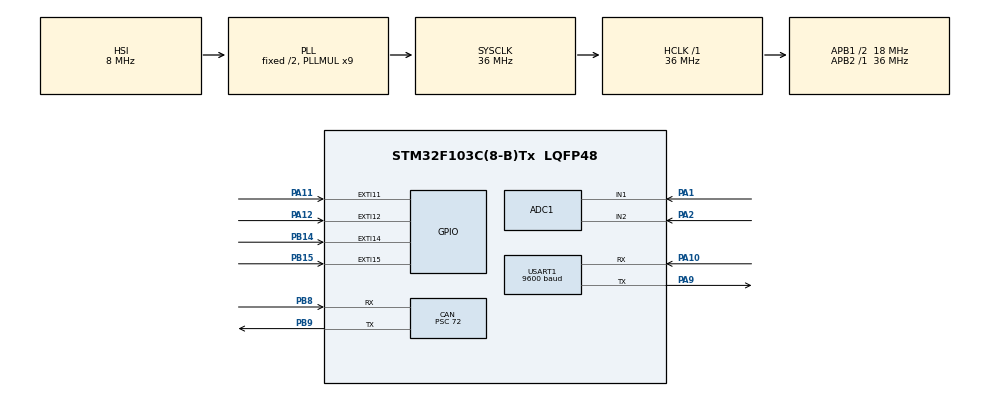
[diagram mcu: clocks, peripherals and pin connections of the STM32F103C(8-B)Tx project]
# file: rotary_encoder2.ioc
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ADC1.Channel-0\#ChannelRegularConversion=ADC_CHANNEL_1
ADC1.NbrOfConversionFlag=1
ADC1.Rank-0\#ChannelRegularConversion=1
ADC1.SamplingTime-0\#ChannelRegularConversion=ADC_SAMPLETIME_55CYCLES_5
ADC1.master=1
CAN.BS1=CAN_BS1_2TQ
CAN.CalculateBaudRate=62500
CAN.CalculateTimeBit=16000
CAN.CalculateTimeQuantum=4000.0
CAN.Prescaler=72
Mcu.Family=STM32F1
Mcu.Name=STM32F103C(8-B)Tx
Mcu.Package=LQFP48
NVIC.CAN1_RX1_IRQn=true\:0\:0\:false\:false\:true\:true\:true\:true
NVIC.EXTI15_10_IRQn=true\:0\:0\:false\:false\:true\:true\:true\:true
NVIC.PriorityGroup=NVIC_PRIORITYGROUP_4
NVIC.TIM2_IRQn=true\:0\:0\:false\:false\:true\:true\:true\:true
NVIC.USART1_IRQn=true\:0\:0\:false\:false\:true\:true\:true\:true
PA1.Signal=ADCx_IN1
PA10.Mode=Asynchronous
PA10.Signal=USART1_RX
PA11.GPIO_PuPd=GPIO_PULLUP
PA11.Signal=GPXTI11
PA12.GPIO_PuPd=GPIO_PULLUP
PA12.Signal=GPXTI12
PA13.Mode=Serial_Wire
PA13.Signal=SYS_JTMS-SWDIO
PA14.Mode=Serial_Wire
PA14.Signal=SYS_JTCK-SWCLK
PA2.Signal=ADCx_IN2
PA9.Mode=Asynchronous
PA9.Signal=USART1_TX
PB14.GPIO_PuPd=GPIO_PULLUP
PB14.Signal=GPXTI14
PB15.GPIO_PuPd=GPIO_PULLUP
PB15.Signal=GPXTI15
PB8.GPIO_PuPd=GPIO_PULLUP
PB8.Mode=CAN_Activate
PB8.Signal=CAN_RX
PB9.Mode=CAN_Activate
PB9.Signal=CAN_TX
PD0-OSC_IN.Mode=HSE-External-Oscillator
PD0-OSC_IN.Signal=RCC_OSC_IN
PD1-OSC_OUT.Mode=HSE-External-Oscillator
PD1-OSC_OUT.Signal=RCC_OSC_OUT
ProjectManager.HeapSize=0x200
ProjectManager.StackSize=0x400
ProjectManager.TargetToolchain=STM32CubeIDE
RCC.ADCPresc=RCC_ADCPCLK2_DIV4
RCC.AHBFreq_Value=36000000
RCC.APB1CLKDivider=RCC_HCLK_DIV2
RCC.APB1Freq_Value=18000000
RCC.APB1TimFreq_Value=36000000
RCC.APB2Freq_Value=36000000
RCC.APB2TimFreq_Value=36000000
RCC.HCLKFreq_Value=36000000
RCC.PLLMUL=RCC_PLL_MUL9
RCC.SYSCLKFreq_VALUE=36000000
RCC.SYSCLKSource=RCC_SYSCLKSOURCE_PLLCLK
RCC.USBFreq_Value=36000000
SH.ADCx_IN1.0=ADC1_IN1,IN1
SH.ADCx_IN2.0=ADC1_IN2,IN2
TIM2.Period=999
TIM2.Prescaler=7199
TIM2.TIM_MasterOutputTrigger=TIM_TRGO_UPDATE
USART1.BaudRate=9600
USART1.VirtualMode=VM_ASYNC
VP_TIM2_VS_ClockSourceINT.Mode=Internal
board=custom

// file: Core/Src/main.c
/* USER CODE BEGIN Header */
/**
 ******************************************************************************
 * @file           : main.c
 * @brief          : Main program body
 ******************************************************************************
 * @attention
 *
 * Copyright (c) 2025 STMicroelectronics.
 * All rights reserved.
 *
 * This software is licensed under terms that can be found in the LICENSE file
 * in the root directory of this software component.
 * If no LICENSE file comes with this software, it is provided AS-IS.
 *
 ******************************************************************************
 */
/* USER CODE END Header */
#include "main.h"

/* USER CODE BEGIN Includes */
#include "encoder.h"
#include "potentiometer.h"
#include <stdio.h>

#define PI 3.14159265359f
#define DEG_TO_RAD(deg) ((deg) * (PI / 180.0f))
/* USER CODE END Includes */

/* USER CODE BEGIN PTD */
CAN_TxHeaderTypeDef TxHeader;
int32_t TxMailbox;
int8_t TxData[4]="ST"; //CAN transmitted data

CAN_FilterTypeDef sFilterConfig;
CAN_RxHeaderTypeDef RxHeader;
int8_t RxData[4]={0}; //CAN received data

void HAL_CAN_RxFifo1MsgPendingCallback(CAN_HandleTypeDef *hcan)
{
	HAL_CAN_GetRxMessage(hcan, CAN_RX_FIFO1, &RxHeader, RxData);
}

//uart
int8_t UARTmsg [2] = {};
int8_t UARTreceived = 0;

/* USER CODE END PTD */

ADC_HandleTypeDef hadc1;

CAN_HandleTypeDef hcan;

TIM_HandleTypeDef htim2;

UART_HandleTypeDef huart1;

/* USER CODE BEGIN PV */
int8_t rpmRight = 0, rpmLeft = 0;
int8_t pos1 = 0, pos2 = 0;

uint16_t readValue;
int8_t steering_data;
uint16_t full_angle;
uint16_t stSteeringAngle;
uint16_t angle_2_turn;
uint16_t angle_1_turn_rad;
/* USER CODE END PV */

void SystemClock_Config(void);
static void MX_GPIO_Init(void);
static void MX_TIM2_Init(void);
static void MX_CAN_Init(void);
static void MX_USART1_UART_Init(void);
static void MX_ADC1_Init(void);
/* USER CODE BEGIN PFP */
//void can_userInit (void);
/* USER CODE END PFP */

int main(void)
{

  /* MCU Configuration--------------------------------------------------------*/

  /* Reset of all peripherals, Initializes the Flash interface and the Systick. */
  HAL_Init();

  /* Configure the system clock */
  SystemClock_Config();

  /* Initialize all configured peripherals */
  MX_GPIO_Init();
  MX_TIM2_Init();
  MX_CAN_Init();
  MX_USART1_UART_Init();
  MX_ADC1_Init();
  /* USER CODE BEGIN 2 */
	//can_userInit();
	// Start timer interrupt for encoder sampling
	HAL_TIM_Base_Start_IT(&htim2);
	//HAL_CAN_AddTxMessage(&hcan, &TxHeader, TxData, &TxMailbox);

    // Calibrate The ADC On Power-Up For Better Accuracy
    //HAL_ADCEx_Calibration_Start(&hadc2);
	//take first pot pos
    //HAL_ADC_Start_IT(&hadc2);
	//int16_t resetPot= Potentiometer_GetAnglePerTurn();
  /* USER CODE END 2 */

  /* Infinite loop */
	while (1)
	{

    /* USER CODE BEGIN 3 */
		rpmRight = Encoder_get_speed_one();
		rpmLeft = Encoder_get_speed_two();

		//HAL_CAN_AddTxMessage(&hcan, &TxHeader, TxData, &TxMailbox);

		UARTmsg[0]=rpmRight;
		UARTmsg[1]=rpmLeft;
		//UARTmsg[3]=stSteeringAngle;//sprocket

		HAL_UART_Transmit(&huart1, UARTmsg, 2, HAL_MAX_DELAY);
		//HAL_Delay(100);

	}
  /* USER CODE END 3 */
}

void SystemClock_Config(void)
{
  RCC_OscInitTypeDef RCC_OscInitStruct = {0};
  RCC_ClkInitTypeDef RCC_ClkInitStruct = {0};
  RCC_PeriphCLKInitTypeDef PeriphClkInit = {0};

  /** Initializes the RCC Oscillators according to the specified parameters
  * in the RCC_OscInitTypeDef structure.
  */
  RCC_OscInitStruct.OscillatorType = RCC_OSCILLATORTYPE_HSI;
  RCC_OscInitStruct.HSIState = RCC_HSI_ON;
  RCC_OscInitStruct.HSICalibrationValue = RCC_HSICALIBRATION_DEFAULT;
  RCC_OscInitStruct.PLL.PLLState = RCC_PLL_ON;
  RCC_OscInitStruct.PLL.PLLSource = RCC_PLLSOURCE_HSI_DIV2;
  RCC_OscInitStruct.PLL.PLLMUL = RCC_PLL_MUL9;
  if (HAL_RCC_OscConfig(&RCC_OscInitStruct) != HAL_OK)
  {
    Error_Handler();
  }

  /** Initializes the CPU, AHB and APB buses clocks
  */
  RCC_ClkInitStruct.ClockType = RCC_CLOCKTYPE_HCLK|RCC_CLOCKTYPE_SYSCLK
                              |RCC_CLOCKTYPE_PCLK1|RCC_CLOCKTYPE_PCLK2;
  RCC_ClkInitStruct.SYSCLKSource = RCC_SYSCLKSOURCE_PLLCLK;
  RCC_ClkInitStruct.AHBCLKDivider = RCC_SYSCLK_DIV1;
  RCC_ClkInitStruct.APB1CLKDivider = RCC_HCLK_DIV2;
  RCC_ClkInitStruct.APB2CLKDivider = RCC_HCLK_DIV1;

  if (HAL_RCC_ClockConfig(&RCC_ClkInitStruct, FLASH_LATENCY_1) != HAL_OK)
  {
    Error_Handler();
  }
  PeriphClkInit.PeriphClockSelection = RCC_PERIPHCLK_ADC;
  PeriphClkInit.AdcClockSelection = RCC_ADCPCLK2_DIV4;
  if (HAL_RCCEx_PeriphCLKConfig(&PeriphClkInit) != HAL_OK)
  {
    Error_Handler();
  }
}

static void MX_ADC1_Init(void)
{

  ADC_ChannelConfTypeDef sConfig = {0};

  /** Common config
  */
  hadc1.Instance = ADC1;
  hadc1.Init.ScanConvMode = ADC_SCAN_DISABLE;
  hadc1.Init.ContinuousConvMode = DISABLE;
  hadc1.Init.DiscontinuousConvMode = DISABLE;
  hadc1.Init.ExternalTrigConv = ADC_SOFTWARE_START;
  hadc1.Init.DataAlign = ADC_DATAALIGN_RIGHT;
  hadc1.Init.NbrOfConversion = 1;
  if (HAL_ADC_Init(&hadc1) != HAL_OK)
  {
    Error_Handler();
  }

  /** Configure Regular Channel
  */
  sConfig.Channel = ADC_CHANNEL_1;
  sConfig.Rank = ADC_REGULAR_RANK_1;
  sConfig.SamplingTime = ADC_SAMPLETIME_55CYCLES_5;
  if (HAL_ADC_ConfigChannel(&hadc1, &sConfig) != HAL_OK)
  {
    Error_Handler();
  }

}

static void MX_CAN_Init(void)
{

  hcan.Instance = CAN1;
  hcan.Init.Prescaler = 72;
  hcan.Init.Mode = CAN_MODE_NORMAL;
  hcan.Init.SyncJumpWidth = CAN_SJW_1TQ;
  hcan.Init.TimeSeg1 = CAN_BS1_2TQ;
  hcan.Init.TimeSeg2 = CAN_BS2_1TQ;
  hcan.Init.TimeTriggeredMode = DISABLE;
  hcan.Init.AutoBusOff = DISABLE;
  hcan.Init.AutoWakeUp = DISABLE;
  hcan.Init.AutoRetransmission = DISABLE;
  hcan.Init.ReceiveFifoLocked = DISABLE;
  hcan.Init.TransmitFifoPriority = DISABLE;
  if (HAL_CAN_Init(&hcan) != HAL_OK)
  {
    Error_Handler();
  }

}

static void MX_TIM2_Init(void)
{

  TIM_ClockConfigTypeDef sClockSourceConfig = {0};
  TIM_MasterConfigTypeDef sMasterConfig = {0};

  htim2.Instance = TIM2;
  htim2.Init.Prescaler = 7199;
  htim2.Init.CounterMode = TIM_COUNTERMODE_UP;
  htim2.Init.Period = 999;
  htim2.Init.ClockDivision = TIM_CLOCKDIVISION_DIV1;
  htim2.Init.AutoReloadPreload = TIM_AUTORELOAD_PRELOAD_DISABLE;
  if (HAL_TIM_Base_Init(&htim2) != HAL_OK)
  {
    Error_Handler();
  }
  sClockSourceConfig.ClockSource = TIM_CLOCKSOURCE_INTERNAL;
  if (HAL_TIM_ConfigClockSource(&htim2, &sClockSourceConfig) != HAL_OK)
  {
    Error_Handler();
  }
  sMasterConfig.MasterOutputTrigger = TIM_TRGO_UPDATE;
  sMasterConfig.MasterSlaveMode = TIM_MASTERSLAVEMODE_DISABLE;
  if (HAL_TIMEx_MasterConfigSynchronization(&htim2, &sMasterConfig) != HAL_OK)
  {
    Error_Handler();
  }

}

static void MX_USART1_UART_Init(void)
{

  huart1.Instance = USART1;
  huart1.Init.BaudRate = 9600;
  huart1.Init.WordLength = UART_WORDLENGTH_8B;
  huart1.Init.StopBits = UART_STOPBITS_1;
  huart1.Init.Parity = UART_PARITY_NONE;
  huart1.Init.Mode = UART_MODE_TX_RX;
  huart1.Init.HwFlowCtl = UART_HWCONTROL_NONE;
  huart1.Init.OverSampling = UART_OVERSAMPLING_16;
  if (HAL_UART_Init(&huart1) != HAL_OK)
  {
    Error_Handler();
  }

}

static void MX_GPIO_Init(void)
{
  GPIO_InitTypeDef GPIO_InitStruct = {0};

  /* GPIO Ports Clock Enable */
  __HAL_RCC_GPIOD_CLK_ENABLE();
  __HAL_RCC_GPIOA_CLK_ENABLE();
  __HAL_RCC_GPIOB_CLK_ENABLE();

  /*Configure GPIO pins : PB14 PB15 */
  GPIO_InitStruct.Pin = GPIO_PIN_14|GPIO_PIN_15;
  GPIO_InitStruct.Mode = GPIO_MODE_IT_RISING;
  GPIO_InitStruct.Pull = GPIO_PULLUP;
  HAL_GPIO_Init(GPIOB, &GPIO_InitStruct);

  /*Configure GPIO pins : PA11 PA12 */
  GPIO_InitStruct.Pin = GPIO_PIN_11|GPIO_PIN_12;
  GPIO_InitStruct.Mode = GPIO_MODE_IT_RISING;
  GPIO_InitStruct.Pull = GPIO_PULLUP;
  HAL_GPIO_Init(GPIOA, &GPIO_InitStruct);

  /* EXTI interrupt init*/
  HAL_NVIC_SetPriority(EXTI15_10_IRQn, 0, 0);
  HAL_NVIC_EnableIRQ(EXTI15_10_IRQn);

}

/* USER CODE BEGIN 4 */
void can_userInit (void){
	HAL_CAN_Start(&hcan);
	TxHeader.DLC = 4;  // data length
	TxHeader.IDE = CAN_ID_STD;
	TxHeader.RTR = CAN_RTR_DATA;
	TxHeader.StdId = 0x6A5;  // ID can be between Hex1 and Hex7FF (1-2047 decimal)

	HAL_CAN_Start(&hcan);
	// Configure the filter
	sFilterConfig.FilterActivation = CAN_FILTER_ENABLE;
	sFilterConfig.FilterFIFOAssignment = CAN_FILTER_FIFO1;
	sFilterConfig.FilterMode = CAN_FILTERMODE_IDMASK;
	sFilterConfig.FilterIdHigh = 0x6A5<<5;
	sFilterConfig.FilterIdLow = 0;
	sFilterConfig.FilterMaskIdHigh = 0x7FF<<5; // SET 0 to unfilter
	sFilterConfig.FilterMaskIdLow = 0;
	sFilterConfig.FilterScale = CAN_FILTERSCALE_32BIT;
	HAL_CAN_ConfigFilter(&hcan, &sFilterConfig);
	// Activate the notification
	HAL_CAN_ActivateNotification(&hcan, CAN_IT_RX_FIFO1_MSG_PENDING);
}

/* USER CODE END 4 */

void Error_Handler(void)
{
	__disable_irq();
	while (1)
	{
	}
}
